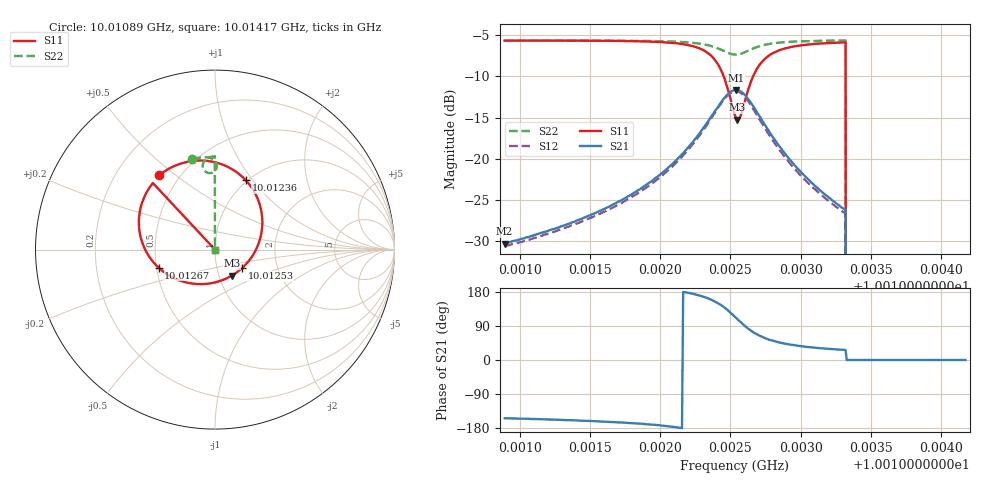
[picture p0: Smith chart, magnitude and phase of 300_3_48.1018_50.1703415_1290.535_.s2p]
#  HZ  S  RI  R  50.00
! Rohde & Schwarz Vector Network Analyzer
! Rohde-Schwarz,ZNB20-2Port,1311601062101988,3.16
! Created: UTC 12/23/2023, 4:04:40 AM
! freq[Hz]  re:S11  im:S11  re:S21  im:S21  re:S12  im:S12  re:S22  im:S22
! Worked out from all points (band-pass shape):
!   401 points, 10.01089 GHz to 10.01417 GHz, reference 50 ohm
!   highest |S21| = -11.66 dB at 10.01254 GHz (marker M1); lowest = -30.3 dB at 10.01089 GHz (marker M2)
!   |S21| within 3 dB of the highest: 10.01237 GHz to 10.0127 GHz (328 kHz wide, 0.00328 % of centre)
!   lowest |S11| = -15.2 dB at 10.01255 GHz (marker M3), VSWR 1.42, Z = 57.8 - j17.2 ohm
!   |S11| at or under -10 dB: 10.01245 GHz to 10.01266 GHz (210.5 kHz wide, 0.0021 % of centre); 10.01332 GHz to end of sweep
!   |S22| runs from - to -5.7 dB; largest |S21 - S12| = 0.013
!   S11 on the Smith chart (normalised r, x): 10.01089 GHz: 0.39, +0.44; 10.01236 GHz: 0.98, +0.93; 10.01253 GHz: 1.32, -0.28; 10.01267 GHz: 0.51, -0.12; 10.01417 GHz: 1.00, +0.00
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1.001089e10  -0.3102 0.4161  -0.0275 -0.0136  -0.0257 -0.0147  -0.1261 0.5044
1.001144e10  -0.2518 0.4534  -0.0408 -0.0147  -0.0384 -0.0164  -0.0873 0.5122
1.0011744e10  -0.1989 0.4766  -0.0557 -0.0145  -0.0527 -0.017  -0.0633 0.5145
1.001199e10  -0.1259 0.4937  -0.0785 -0.0107  -0.075 -0.0148  -0.0402 0.5138
1.0012228e10  0.0205 0.4811  -0.1251 0.0107  -0.1216 0.00319  -0.011 0.5036
1.001236e10  0.1722 0.3859  -0.1673 0.062  -0.1668 0.0511  0.00746 0.4823
1.0012409e10  0.2332 0.2939  -0.1786 0.1024  -0.1812 0.09  0.0107 0.4668
1.0012458e10  0.264 0.1527  -0.1751 0.1562  -0.1792 0.1463  0.00648 0.4478
1.0012499e10  0.2314 0.00568  -0.1467 0.2072  -0.1538 0.1974  -0.0063 0.4332
1.0012532e10  0.1518 -0.1024  -0.106 0.2384  -0.1113 0.2315  -0.0232 0.4264
1.001254e10  0.1232 -0.1258  -0.093 0.2441  -0.1004 0.2365  -0.0271 0.426
1.0012549e10  0.0952 -0.1444  -0.0812 0.248  -0.0863 0.2411  -0.0323 0.4261
1.0012573e10  0.000971 -0.1827  -0.0433 0.2523  -0.0486 0.2453  -0.0448 0.4293
1.0012598e10  -0.0979 -0.192  -0.00576 0.2457  -0.012 0.2393  -0.0552 0.4361
1.0012672e10  -0.3139 -0.1008  0.0654 0.1914  0.0578 0.1856  -0.0685 0.464
1.0012746e10  -0.4021 0.0305  0.0857 0.1353  0.0776 0.1319  -0.0643 0.4856
1.0012852e10  -0.4238 0.1667  0.082 0.0848  0.0751 0.0836  -0.0507 0.5027
1.0013082e10  -0.3869 0.3079  0.0594 0.0391  0.0548 0.0397  -0.0233 0.5161
1.0013304e10  -0.3486 0.3677  0.0447 0.0227  0.0415 0.0235  -0.0027 0.5202
1.0013345e10  0 0  0 0  0 0  0 0
1.0013632e10  0 0  0 0  0 0  0 0
1.0014174e10  0 0  0 0  0 0  0 0
